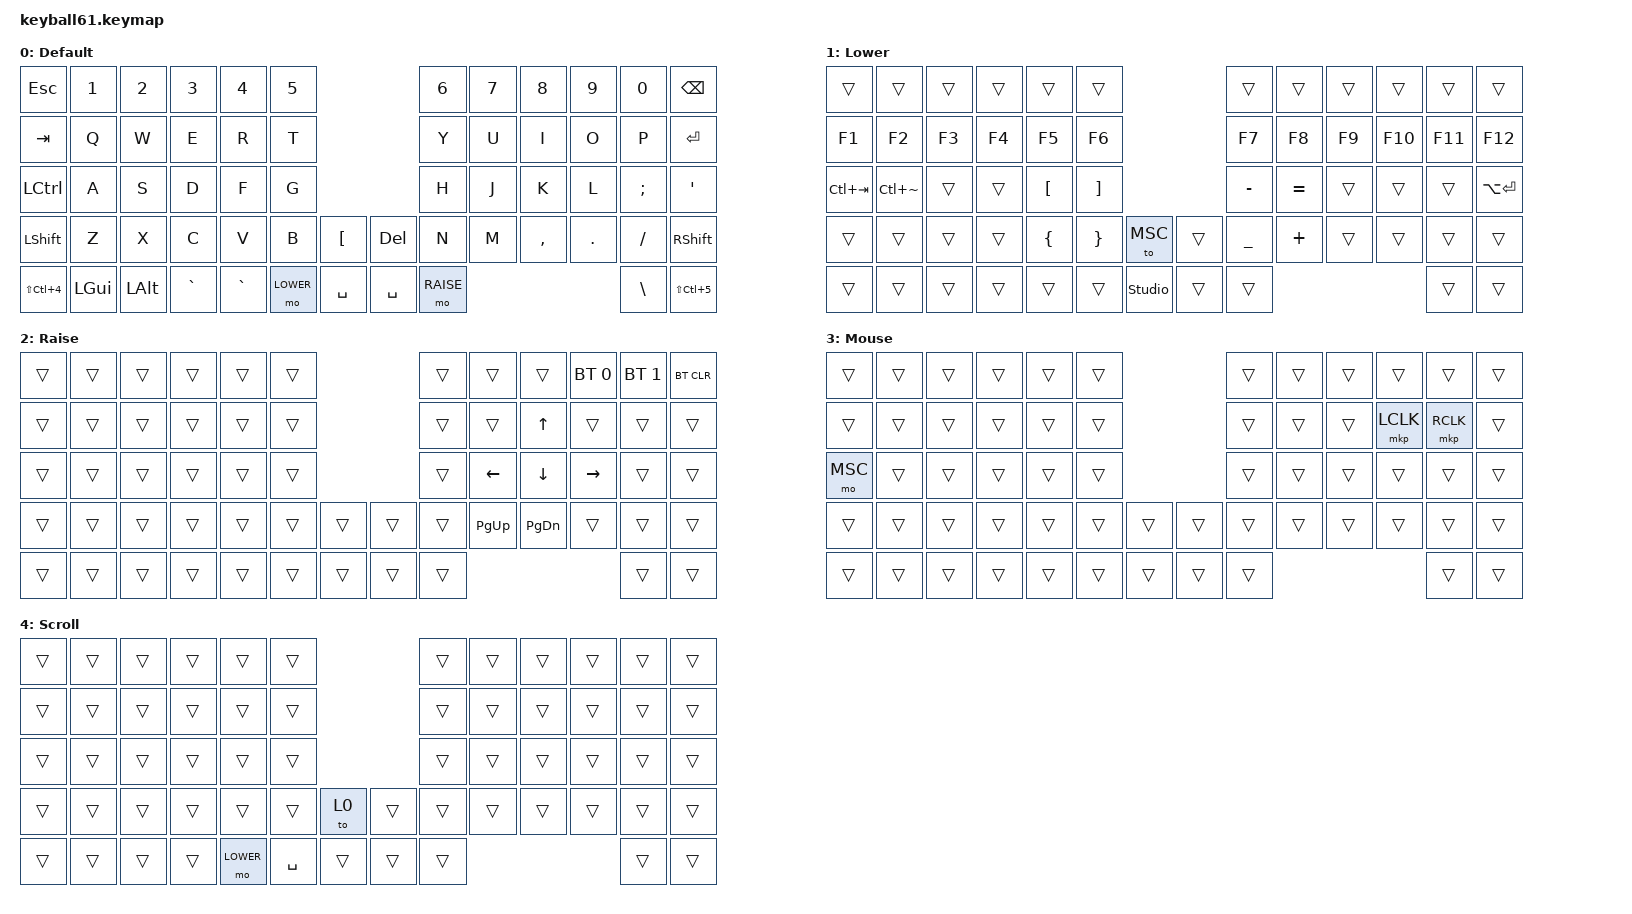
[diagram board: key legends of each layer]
#include <dt-bindings/zmk/pointing.h>
#include <dt-bindings/zmk/bt.h>

#include <behaviors.dtsi>
#include <dt-bindings/zmk/keys.h>

#define BAS 0
#define LOWER 1
#define RAISE 2
#define MSK 3
#define MSC 4

/ {
    keymap {
        compatible = "zmk,keymap";

        default_layer {
            display-name = "Default";
            bindings = <
                &kp ESC        &kp N1    &kp N2    &kp N3    &kp N4    &kp N5                             &kp N6    &kp N7    &kp N8    &kp N9    &kp N0    &kp BSPC
                &kp TAB        &kp Q     &kp W     &kp E     &kp R     &kp T                              &kp Y     &kp U     &kp I     &kp O     &kp P     &kp ENTER
                &kp LCTRL      &kp A     &kp S     &kp D     &kp F     &kp G                              &kp H     &kp J     &kp K     &kp L     &kp SEMI  &kp APOS
                &kp LSHFT      &kp Z     &kp X     &kp C     &kp V     &kp B     &kp LBKT       &kp DEL   &kp N     &kp M     &kp COMMA &kp DOT   &kp FSLH  &kp RSHFT
                &kp LS(LC(N4)) &kp LGUI  &kp LALT  &kp GRAVE &kp GRAVE &mo LOWER &kp SPACE      &kp SPACE &mo RAISE                               &kp BSLH  &kp LS(LC(N5))
            >;
        };

        lower_layer {
            display-name = "Lower";
            bindings = <
                &trans      &trans        &trans    &trans    &trans    &trans                             &trans    &trans    &trans    &trans    &trans    &trans
                &kp F1      &kp F2        &kp F3    &kp F4    &kp F5    &kp F6                             &kp F7    &kp F8    &kp F9    &kp F10   &kp F11   &kp F12
                &kp LC(TAB) &kp LC(TILDE) &trans    &trans    &kp LBKT  &kp RBKT                           &kp MINUS &kp EQUAL &trans    &trans    &trans    &kp LA(ENTER)
                &trans      &trans        &trans    &trans    &kp LBRC  &kp RBRC  &to MSC        &trans    &kp UNDER &kp PLUS  &trans    &trans    &trans    &trans
                &trans      &trans        &trans    &trans    &trans    &trans    &studio_unlock &trans    &trans                                  &trans    &trans
            >;
        };

        raise_layer {
            display-name = "Raise";
            bindings = <
                &trans    &trans    &trans    &trans    &trans    &trans                             &trans    &trans    &trans    &bt BT_SEL 0 &bt BT_SEL 1 &bt BT_CLR
                &trans    &trans    &trans    &trans    &trans    &trans                             &trans    &trans    &kp UP    &trans       &trans       &trans
                &trans    &trans    &trans    &trans    &trans    &trans                             &trans    &kp LEFT  &kp DOWN  &kp RIGHT    &trans       &trans
                &trans    &trans    &trans    &trans    &trans    &trans    &trans         &trans    &trans    &kp PG_UP &kp PG_DN &trans       &trans       &trans
                &trans    &trans    &trans    &trans    &trans    &trans    &trans         &trans    &trans                                     &trans       &trans
            >;
        };

        MSK_layer {
            display-name = "Mouse";
            bindings = <
                &trans    &trans    &trans    &trans    &trans    &trans                             &trans    &trans    &trans    &trans    &trans    &trans
                &trans    &trans    &trans    &trans    &trans    &trans                             &trans    &trans    &trans    &mkp LCLK &mkp RCLK &trans
                &mo MSC   &trans    &trans    &trans    &trans    &trans                             &trans    &trans    &trans    &trans    &trans    &trans
                &trans    &trans    &trans    &trans    &trans    &trans    &trans         &trans    &trans    &trans    &trans    &trans    &trans    &trans
                &trans    &trans    &trans    &trans    &trans    &trans    &trans         &trans    &trans                                  &trans    &trans
            >;
        };

        MSC_layer {
            display-name = "Scroll";
            bindings = <
                &trans    &trans    &trans    &trans    &trans    &trans                             &trans    &trans    &trans    &trans    &trans    &trans
                &trans    &trans    &trans    &trans    &trans    &trans                             &trans    &trans    &trans    &trans    &trans    &trans
                &trans    &trans    &trans    &trans    &trans    &trans                             &trans    &trans    &trans    &trans    &trans    &trans
                &trans    &trans    &trans    &trans    &trans    &trans    &to 0          &trans    &trans    &trans    &trans    &trans    &trans    &trans
                &trans    &trans    &trans    &trans    &mo LOWER &kp SPACE &trans         &trans    &trans                                  &trans    &trans
            >;
        };
    };
};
